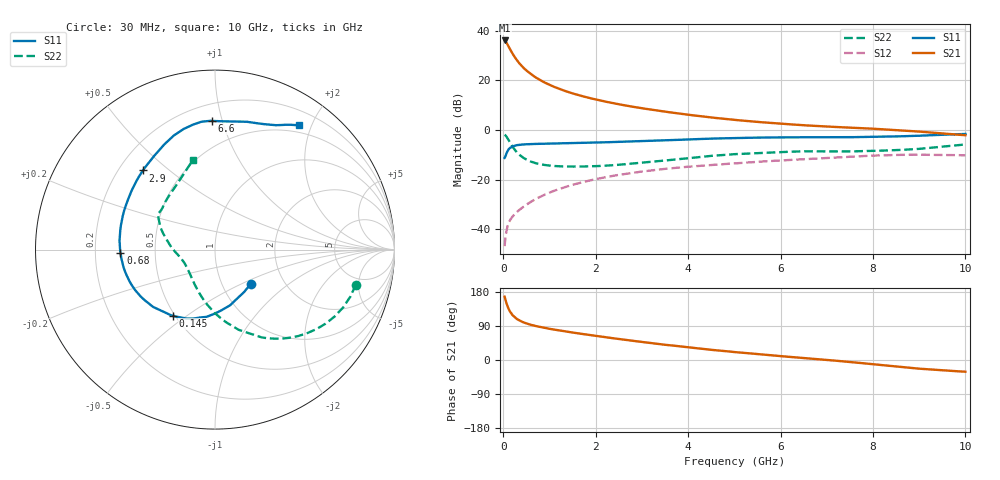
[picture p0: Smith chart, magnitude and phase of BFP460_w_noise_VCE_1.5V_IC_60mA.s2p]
! (c) 2016  Infineon Technologies AG, Munich
! Infineon Technologies  Discrete & RF Semiconductors
! BFP460
! VCE =  1.5 V,  IC =  60 mA
! Common Emitter S-Parameters:  Jan 2016
# GHz  S  MA  R  50
!  f  S11  S21  S12  S22
! GHz  MAG  ANG  MAG  ANG  MAG  ANG  MAG  ANG
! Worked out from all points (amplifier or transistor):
!   229 points, 30 MHz to 10 GHz, reference 50 ohm
!   highest |S21| = 36.1 dB at 30 MHz (marker M1)
!   |S21| within 3 dB of that: start of sweep to 132.4 MHz
!   unconditionally stable (mu >= 1): 798.3 MHz to 7.904 GHz
!   at 280 MHz: K = 0.72, MSG = 30.9 dB, |S12| = -33.3 dB
!   at 1.78 GHz: K = 1.06, MAG = 15.5 dB, |S12| = -20.7 dB
!   at 10 GHz: K = 0.98, MSG = 4.0 dB, |S12| = -10.1 dB
!   lowest NFmin = 1.86 dB at 3.5 GHz
!   S11 on the Smith chart (normalised r, x): 30 MHz: 1.36, -0.56; 145 MHz: 0.49, -0.45; 680 MHz: 0.31, -0.02; 2.9 GHz: 0.30, +0.41; 6.6 GHz: 0.31, +0.93; 10 GHz: 0.40, +1.82
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0.03  0.2758 -43.8  64.04 167.2  0.0046 82.8  0.8086 -14.0
0.05  0.3006 -66.4  61.13 157.7  0.0073 78.2  0.7828 -24.4
0.07  0.3405 -84.1  57.82 149.6  0.0093 71.0  0.741 -33.9
0.08  0.3574 -90.4  55.88 146.2  0.0104 69.3  0.7175 -38.2
0.09  0.3777 -97.2  53.74 142.7  0.0113 67.6  0.6925 -42.3
0.11  0.4027 -107.4  49.69 136.8  0.0129 65.0  0.6439 -49.7
0.145  0.4363 -122.2  43.08 128.2  0.0152 61.7  0.5643 -60.6
0.2  0.47 -137.2  34.89 118.6  0.0181 59.7  0.4664 -73.5
0.24  0.4836 -144.7  30.47 113.9  0.0199 59.5  0.414 -80.6
0.3  0.499 -153.2  25.29 107.8  0.0226 59.8  0.3547 -90.0
0.36  0.5076 -159.3  21.59 103.7  0.0252 60.8  0.3139 -97.2
0.45  0.5163 -166.3  17.57 98.7  0.0292 62.3  0.2719 -106.2
0.68  0.5269 -177.8  11.92 90.4  0.0399 64.7  0.2192 -122.4
1.1  0.5383 168.9  7.452 80.2  0.0599 65.3  0.1898 -140.0
1.7  0.5527 155.0  4.866 68.9  0.0887 62.2  0.185 -153.9
2.9  0.5965 132.3  2.859 49.2  0.1423 51.8  0.2169 -175.0
3.4  0.6177 124.3  2.43 41.9  0.1619 47.0  0.2397 177.9
5.1  0.6965 103.7  1.579 20.0  0.217 33.1  0.3311 157.1
6.6  0.7171 91.3  1.239 4.2  0.2622 21.6  0.3741 147.8
6.8  0.7161 89.4  1.209 2.2  0.2684 20.2  0.3732 147.0
8.4  0.7437 70.9  1.015 -15.9  0.3151 5.4  0.3927 131.4
10  0.8366 55.8  0.789 -30.9  0.3122 -7.4  0.5146 103.8
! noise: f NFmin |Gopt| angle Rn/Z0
0.45  2.02  0.36  -170  0.13
0.9  2.06  0.34  -160  0.14
1.9  2.16  0.44  -139  0.17
3.5  1.86  0.7  -115  0.32
